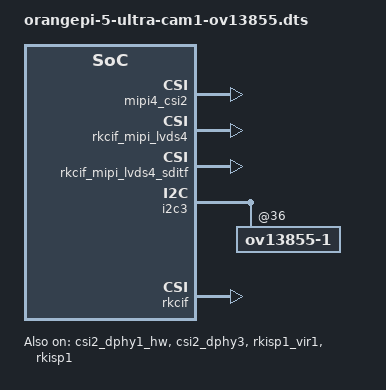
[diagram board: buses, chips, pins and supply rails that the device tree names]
/dts-v1/;
/plugin/;

/ {
	fragment@0 {
		target = <&csi2_dphy1_hw>;
		__overlay__ {
			status = "okay";
		};
	};

	fragment@1 {
		target = <&csi2_dphy3>;
		__overlay__ {
			status = "okay";
		};
	};

	fragment@2 {
		target = <&mipi4_csi2>;
		__overlay__ {
			status = "okay";
		};
	};

	fragment@3 {
		target = <&rkcif_mipi_lvds4>;
		__overlay__ {
			status = "okay";
		};
	};

	fragment@4 {
		target = <&rkcif_mipi_lvds4_sditf>;
		__overlay__ {
			status = "okay";
		};
	};

	fragment@5 {
		target = <&rkisp1_vir1>;
		__overlay__ {
			status = "okay";
		};
	};

	fragment@6 {
		target = <&i2c3>;
		__overlay__ {
			status = "okay";

			ov13855-1@36 {
				status = "okay";
			};
		};
	};

	fragment@7 {
		target = <&rkcif>;
		__overlay__ {
			status = "okay";
		};
	};

	fragment@8 {
		target = <&rkcif_mmu>;
		__overlay__ {
			status = "okay";
		};
	};

	fragment@9 {
		target = <&rkisp1>;
		__overlay__ {
			status = "okay";
		};
	};

	fragment@10 {
		target = <&isp1_mmu>;
		__overlay__ {
			status = "okay";
		};
	};
};
